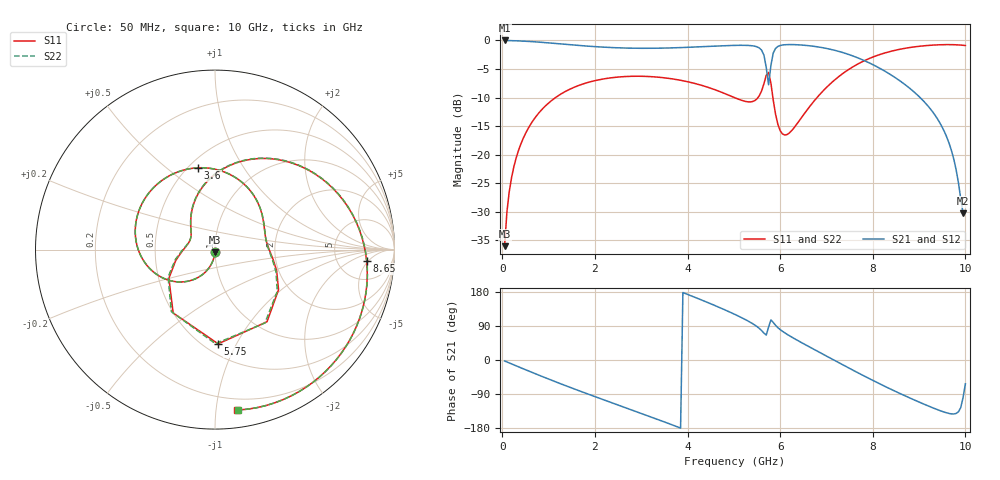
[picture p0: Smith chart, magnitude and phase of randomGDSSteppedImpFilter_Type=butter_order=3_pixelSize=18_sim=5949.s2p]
! freq	dB(S11)	phase(S11)	dB(S12)	phase(S12)
!  dB(S21)	phase(S21)	dB(S22)	phase(S22)
!S-par simulation data
#  GHz  S  DB  R 50
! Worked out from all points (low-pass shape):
!   200 points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, 50 MHz to 10 GHz, reference 50 ohm
!   highest |S21| = 0.00 dB at 50 MHz (marker M1); lowest = -30.2 dB at 9.95 GHz (marker M2)
!   |S21| within 3 dB of the highest: start of sweep to 5.66 GHz; 5.832 GHz to 7.664 GHz (1.832 GHz wide, 27.1 % of centre)
!   lowest |S11| = -36.0 dB at 50 MHz (marker M3), VSWR 1.03, Z = 49.9 - j1.58 ohm
!   |S11| at or under -10 dB: start of sweep to 1.149 GHz; 5.013 GHz to 5.52 GHz (507 MHz wide, 9.63 % of centre); 5.843 GHz to 6.796 GHz (952.5 MHz wide, 15.1 % of centre)
!   |S22| runs from -35.9 to -0.7 dB; largest |S21 - S12| = 0
!   S11 on the Smith chart (normalised r, x): 50 MHz: 1.00, -0.03; 3.6 GHz: 0.56, +0.65; 5.75 GHz: 0.58, -0.85; 8.65 GHz: 10, -4; 10 GHz: 0.12, -1.14
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0.05  -36.00 -92.5  -0.00 -2.6  -0.00 -2.6  -35.90 -92.1
0.2  -24.01 -100.6  -0.04 -10.3  -0.04 -10.3  -24.04 -100.7
0.5  -16.31 -116.2  -0.14 -25.6  -0.14 -25.6  -16.33 -116.1
1.1  -10.29 -145.7  -0.50 -55.1  -0.50 -55.1  -10.29 -145.7
1.75  -7.60 -176.0  -0.94 -85.4  -0.94 -85.4  -7.60 -176.0
2.55  -6.37 148.5  -1.31 -120.9  -1.31 -120.9  -6.37 148.5
3.4  -6.46 110.8  -1.35 -158.8  -1.35 -158.8  -6.46 110.7
3.6  -6.64 101.7  -1.32 -168.0  -1.32 -168.0  -6.64 101.6
4.35  -7.97 66.3  -1.08 156.0  -1.08 156.0  -7.97 66.1
5.05  -10.12 30.0  -0.86 118.7  -0.86 118.7  -10.13 29.5
5.55  -9.67 -9.6  -1.32 83.4  -1.32 83.4  -9.69 -10.9
5.7  -6.10 -54.2  -4.75 65.8  -4.75 65.8  -6.12 -55.8
5.75  -5.59 -88.1  -7.77 86.8  -7.77 86.8  -5.61 -89.7
5.8  -7.47 -123.5  -4.40 105.8  -4.40 105.8  -7.48 -125.1
6  -15.78 173.9  -0.89 80.3  -0.89 80.3  -15.75 172.9
6.7  -10.93 114.4  -1.00 30.1  -1.00 30.1  -10.93 114.8
7.6  -4.48 57.9  -2.80 -28.7  -2.80 -28.7  -4.48 58.3
8.35  -1.99 12.8  -5.81 -74.8  -5.81 -74.8  -1.99 13.2
8.65  -1.44 -4.2  -7.45 -92.0  -7.45 -92.0  -1.44 -3.8
9.55  -0.74 -53.8  -16.02 -137.8  -16.02 -137.8  -0.73 -53.4
9.95  -0.85 -78.7  -30.24 -99.1  -30.24 -99.1  -0.84 -78.2
10  -0.89 -82.1  -29.90 -62.8  -29.90 -62.8  -0.89 -81.7
